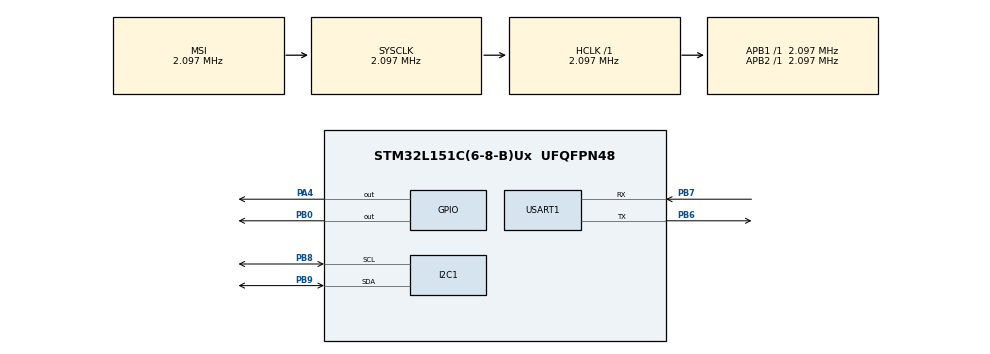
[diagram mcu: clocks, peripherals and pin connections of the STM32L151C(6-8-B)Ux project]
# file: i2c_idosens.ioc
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Mcu.Family=STM32L1
Mcu.Name=STM32L151C(6-8-B)Ux
Mcu.Package=UFQFPN48
NVIC.PriorityGroup=NVIC_PRIORITYGROUP_4
PA4.Signal=GPIO_Output
PB0.Signal=GPIO_Output
PB6.Mode=Asynchronous
PB6.Signal=USART1_TX
PB7.Mode=Asynchronous
PB7.Signal=USART1_RX
PB8.Mode=I2C
PB8.Signal=I2C1_SCL
PB9.Mode=I2C
PB9.Signal=I2C1_SDA
ProjectManager.HeapSize=0x200
ProjectManager.StackSize=0x400
ProjectManager.TargetToolchain=STM32CubeIDE
RCC.AHBFreq_Value=2097000
RCC.APB1Freq_Value=2097000
RCC.APB2Freq_Value=2097000
RCC.HSE_VALUE=24000000
RCC.HSI_VALUE=16000000
RCC.LSE_VALUE=32768
RCC.MSI_VALUE=2097000
RCC.SYSCLKFreq_VALUE=2097000
RCC.VCOOutputFreq_Value=48000000
USART1.VirtualMode=VM_ASYNC
board=custom

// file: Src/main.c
/* USER CODE BEGIN Header */
/**
  ******************************************************************************
  * @file           : main.c
  * @brief          : Main program body
  ******************************************************************************
  * @attention
  *
  * <h2><center>&copy; Copyright (c) 2019 STMicroelectronics.
  * All rights reserved.</center></h2>
  *
  * This software component is licensed by ST under BSD 3-Clause license,
  * the "License"; You may not use this file except in compliance with the
  * License. You may obtain a copy of the License at:
  *                        opensource.org/licenses/BSD-3-Clause
  *
  ******************************************************************************
  */
/* USER CODE END Header */

#include "main.h"

I2C_HandleTypeDef hi2c1;

UART_HandleTypeDef huart1;

void SystemClock_Config(void);
static void MX_GPIO_Init(void);
static void MX_I2C1_Init(void);
static void MX_USART1_UART_Init(void);

int main(void)
{

  /* MCU Configuration--------------------------------------------------------*/

  /* Reset of all peripherals, Initializes the Flash interface and the Systick. */
  HAL_Init();

  /* Configure the system clock */
  SystemClock_Config();

  /* Initialize all configured peripherals */
  MX_GPIO_Init();
  //Turn on sensors
   HAL_GPIO_WritePin(GPIOB, GPIO_PIN_0, SET);
  MX_I2C1_Init();
  MX_USART1_UART_Init();
  /* USER CODE BEGIN 2 */

  	  uint8_t buf[2]={0,0};
	   uint8_t data1[2]={0,0};
	   uint8_t data2[4]={0,0,0,0};

	   static const uint8_t capteurlight_ADDR = 0x39 << 1; // Use 8-bit address
	   static const uint8_t COMMAND_LIGHTREG14 = 0b10110100; //Auto increment 101  p19 p26 Reg light 0x14-0x17 : 0x14
	   static const uint8_t COMMAND_LIGHTREG15 = 0b10110101; //Auto increment 101  p19 p26 Reg light 0x14-0x17 : 0x15
	   static const uint8_t COMMAND_LIGHTREG16 = 0b10110110; //Auto increment 101  p19 p26 Reg light 0x14-0x17 : 0x16
	   static const uint8_t COMMAND_LIGHTREG17 = 0b1010111; //Auto increment 101  p19 p26 Reg light 0x14-0x17 : 0x17
	   static const uint8_t COMMAND_ENABLE = 0b10100000; //Auto increment 101  p19 p20  Enable reg 0x00

	   //Ecrire dans enable register pour turn on capteur light 0b11
	   buf[0] = COMMAND_ENABLE;
	   HAL_I2C_Master_Transmit(&hi2c1, capteurlight_ADDR, buf, 1,HAL_MAX_DELAY);
	   data1[0]=0b11;
	   HAL_I2C_Master_Transmit(&hi2c1, capteurlight_ADDR, data1, 1,HAL_MAX_DELAY);
	   data2[0]=data1[0];

  /* USER CODE END 2 */

  /* Infinite loop */
  /* USER CODE BEGIN WHILE */
	   while (1)
	   {

		  //J'envoie COMMNAND au capteur light : lire un octet de light
		   buf[0] = COMMAND_LIGHTREG14;
		   HAL_I2C_Master_Transmit(&hi2c1, capteurlight_ADDR, buf, 1,HAL_MAX_DELAY);
          // Read 1 bytes from the temperature register
	      HAL_I2C_Master_Receive(&hi2c1, capteurlight_ADDR, data1, 1,HAL_MAX_DELAY);
	      data2[0]=data1[0];

	      //J'envoie COMMNAND au capteur light : lire un octet de light
		   buf[0] = COMMAND_LIGHTREG15;
		   HAL_I2C_Master_Transmit(&hi2c1, capteurlight_ADDR, buf, 1,HAL_MAX_DELAY);
			// Read 1 bytes from the temperature register
		  HAL_I2C_Master_Receive(&hi2c1, capteurlight_ADDR, data1, 1,HAL_MAX_DELAY);
		  data2[1]=data1[0];

	      	//J'envoie COMMNAND au capteur light : lire un octet de light
		   buf[0] = COMMAND_LIGHTREG16;
		   HAL_I2C_Master_Transmit(&hi2c1, capteurlight_ADDR, buf, 1,HAL_MAX_DELAY);
		  // Read 1 bytes from the temperature register
		  HAL_I2C_Master_Receive(&hi2c1, capteurlight_ADDR, data1, 1,HAL_MAX_DELAY);
		  data2[2]=data1[0];

		  //J'envoie COMMNAND au capteur light : lire un octet de light
		   buf[0] = COMMAND_LIGHTREG17;
		   HAL_I2C_Master_Transmit(&hi2c1, capteurlight_ADDR, buf, 1,HAL_MAX_DELAY);
		  // Read 1 bytes from the temperature register
		  HAL_I2C_Master_Receive(&hi2c1, capteurlight_ADDR, data1, 1,HAL_MAX_DELAY);
		  data2[3]=data1[0];

		 uint8_t string_message[55];
		 sprintf(string_message,"Light Al : %d, Light Ah : %d, Light Bl : %d; Light Bh : %d \n\r", data2[0],data2[1],data2[2],data2[3]);
		 uint8_t len = strlen(string_message);
		 HAL_UART_Transmit(&huart1, string_message,len , HAL_MAX_DELAY);

	     HAL_Delay(1000);

    /* USER CODE END WHILE */

  }
}

void SystemClock_Config(void)
{
  RCC_OscInitTypeDef RCC_OscInitStruct = {0};
  RCC_ClkInitTypeDef RCC_ClkInitStruct = {0};

  /** Configure the main internal regulator output voltage
  */
  __HAL_PWR_VOLTAGESCALING_CONFIG(PWR_REGULATOR_VOLTAGE_SCALE1);
  /** Initializes the CPU, AHB and APB busses clocks
  */
  RCC_OscInitStruct.OscillatorType = RCC_OSCILLATORTYPE_MSI;
  RCC_OscInitStruct.MSIState = RCC_MSI_ON;
  RCC_OscInitStruct.MSICalibrationValue = 0;
  RCC_OscInitStruct.MSIClockRange = RCC_MSIRANGE_5;
  RCC_OscInitStruct.PLL.PLLState = RCC_PLL_NONE;
  if (HAL_RCC_OscConfig(&RCC_OscInitStruct) != HAL_OK)
  {
    Error_Handler();
  }
  /** Initializes the CPU, AHB and APB busses clocks
  */
  RCC_ClkInitStruct.ClockType = RCC_CLOCKTYPE_HCLK|RCC_CLOCKTYPE_SYSCLK
                              |RCC_CLOCKTYPE_PCLK1|RCC_CLOCKTYPE_PCLK2;
  RCC_ClkInitStruct.SYSCLKSource = RCC_SYSCLKSOURCE_MSI;
  RCC_ClkInitStruct.AHBCLKDivider = RCC_SYSCLK_DIV1;
  RCC_ClkInitStruct.APB1CLKDivider = RCC_HCLK_DIV1;
  RCC_ClkInitStruct.APB2CLKDivider = RCC_HCLK_DIV1;

  if (HAL_RCC_ClockConfig(&RCC_ClkInitStruct, FLASH_LATENCY_0) != HAL_OK)
  {
    Error_Handler();
  }
}

static void MX_I2C1_Init(void)
{

  hi2c1.Instance = I2C1;
  hi2c1.Init.ClockSpeed = 100000;
  hi2c1.Init.DutyCycle = I2C_DUTYCYCLE_2;
  hi2c1.Init.OwnAddress1 = 0;
  hi2c1.Init.AddressingMode = I2C_ADDRESSINGMODE_7BIT;
  hi2c1.Init.DualAddressMode = I2C_DUALADDRESS_DISABLE;
  hi2c1.Init.OwnAddress2 = 0;
  hi2c1.Init.GeneralCallMode = I2C_GENERALCALL_DISABLE;
  hi2c1.Init.NoStretchMode = I2C_NOSTRETCH_DISABLE;
  if (HAL_I2C_Init(&hi2c1) != HAL_OK)
  {
    Error_Handler();
  }

}

static void MX_USART1_UART_Init(void)
{

  huart1.Instance = USART1;
  huart1.Init.BaudRate = 115200;
  huart1.Init.WordLength = UART_WORDLENGTH_8B;
  huart1.Init.StopBits = UART_STOPBITS_1;
  huart1.Init.Parity = UART_PARITY_NONE;
  huart1.Init.Mode = UART_MODE_TX_RX;
  huart1.Init.HwFlowCtl = UART_HWCONTROL_NONE;
  huart1.Init.OverSampling = UART_OVERSAMPLING_16;
  if (HAL_UART_Init(&huart1) != HAL_OK)
  {
    Error_Handler();
  }

}

static void MX_GPIO_Init(void)
{
  GPIO_InitTypeDef GPIO_InitStruct = {0};

  /* GPIO Ports Clock Enable */
  __HAL_RCC_GPIOA_CLK_ENABLE();
  __HAL_RCC_GPIOB_CLK_ENABLE();

  /*Configure GPIO pin Output Level */
  HAL_GPIO_WritePin(GPIOA, GPIO_PIN_4, GPIO_PIN_RESET);

  /*Configure GPIO pin Output Level */
  HAL_GPIO_WritePin(GPIOB, GPIO_PIN_0, GPIO_PIN_RESET);

  /*Configure GPIO pin : PA4 */
  GPIO_InitStruct.Pin = GPIO_PIN_4;
  GPIO_InitStruct.Mode = GPIO_MODE_OUTPUT_PP;
  GPIO_InitStruct.Pull = GPIO_NOPULL;
  GPIO_InitStruct.Speed = GPIO_SPEED_FREQ_LOW;
  HAL_GPIO_Init(GPIOA, &GPIO_InitStruct);

  /*Configure GPIO pin : PB0 */
  GPIO_InitStruct.Pin = GPIO_PIN_0;
  GPIO_InitStruct.Mode = GPIO_MODE_OUTPUT_PP;
  GPIO_InitStruct.Pull = GPIO_NOPULL;
  GPIO_InitStruct.Speed = GPIO_SPEED_FREQ_LOW;
  HAL_GPIO_Init(GPIOB, &GPIO_InitStruct);

}

void Error_Handler(void)
{
}

/************************ (C) COPYRIGHT STMicroelectronics *****END OF FILE****/
